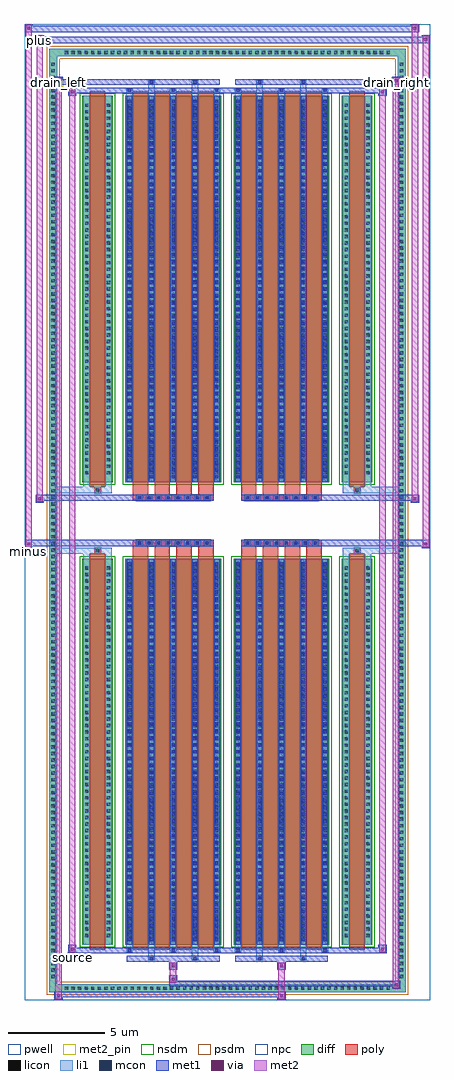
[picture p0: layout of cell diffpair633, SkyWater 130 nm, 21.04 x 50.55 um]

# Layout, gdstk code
import gdstk
lib = gdstk.Library(unit=1e-6, precision=5e-09)
def R(c, l, rs):  # rectangles x0, y0, x1, y1
    for r in rs: c.add(gdstk.rectangle(r[:2], r[2:], *l))
def A(c, l, x, y, w, h, nx, ny, dx, dy):  # array of equal rectangles
    R(c, l, [(x+i*dx, y+j*dy, x+i*dx+w, y+j*dy+h) for i in range(nx) for j in range(ny)])
def P(c, l, *ps):  # polygons
    for p in ps: c.add(gdstk.Polygon(p, *l))
pwell = (64, 44)
diff = (65, 20)
poly = (66, 20)
licon = (66, 44)
li1 = (67, 20)
mcon = (67, 44)
met1 = (68, 20)
via = (68, 44)
met2_pin = (69, 16)
met2 = (69, 20)
nsdm = (93, 44)
psdm = (94, 20)
npc = (95, 20)

diffpair633 = lib.new_cell('diffpair633')
R(diffpair633, pwell, [(-10.5,-24.84,10.5,25.71), (-7.82,-23.03,-0.01,-0.805), (0.01,-23.03,7.82,-0.805), (-7.82,0.805,-0.01,23.03), (0.01,0.805,7.82,23.03)])
A(diffpair633, diff, -8.535, -24.44, 0.41, 0.41, 50, 2, 0.34, 48.47)
A(diffpair633, diff, -9.23, -23.835, 0.41, 0.41, 1, 140, 0, 0.34)
A(diffpair633, diff, 8.82, -23.835, 0.41, 0.41, 1, 140, 0, 0.34)
R(diffpair633, diff, [(-8.535,-24.44,8.535,-24.03), (-9.23,-23.835,-8.82,23.835), (8.82,-23.835,9.23,23.835), (-7.51,-21.985,-5.93,-1.985), (-5.29,-21.985,-0.32,-1.985), (0.32,-21.985,5.29,-1.985), (5.93,-21.985,7.51,-1.985), (-7.51,1.985,-5.93,21.985), (-5.29,1.985,-0.32,21.985), (0.32,1.985,5.29,21.985), (5.93,1.985,7.51,21.985), (-8.535,24.03,8.535,24.44)])
P(diffpair633, diff, [(9.23,24.44),(-9.23,24.44),(-9.23,-24.03),(-8.82,-24.03),(-8.82,24.03),(8.82,24.03),(8.82,-24.03),(-8.82,-24.03),(-9.23,-24.03),(-9.23,-24.44),(9.23,-24.44)])
A(diffpair633, poly, -4.9, -22.235, 0.8, 20.5, 4, 2, 1.13, 23.97)
A(diffpair633, poly, 0.71, -22.235, 0.8, 20.5, 4, 2, 1.13, 23.97)
A(diffpair633, poly, -4.9, -1.735, 0.8, 0.4, 4, 2, 1.13, 3.07)
A(diffpair633, poly, 0.71, -1.735, 0.8, 0.4, 4, 2, 1.13, 3.07)
A(diffpair633, poly, -4.72, -1.335, 0.33, 0.33, 8, 2, 0.5, 2.34)
A(diffpair633, poly, 0.89, -1.335, 0.33, 0.33, 8, 2, 0.5, 2.34)
R(diffpair633, poly, [(-7.12,-22.235,-6.32,-1.735), (6.32,-22.235,7.12,-1.735), (-6.885,-1.735,-6.555,-1.405), (-6.885,-1.735,-6.555,-1.405), (6.555,-1.735,6.885,-1.405), (6.555,-1.735,6.885,-1.405), (-4.9,-1.335,-0.71,-1.005), (0.71,-1.335,4.9,-1.005), (-4.9,1.005,-0.71,1.335), (0.71,1.005,4.9,1.335), (-6.885,1.405,-6.555,1.735), (-6.885,1.405,-6.555,1.735), (6.555,1.405,6.885,1.735), (6.555,1.405,6.885,1.735), (-7.12,1.735,-6.32,22.235), (6.32,1.735,7.12,22.235)])
A(diffpair633, licon, -8.415, -24.32, 0.17, 0.17, 50, 2, 0.34, 48.47)
A(diffpair633, licon, -9.11, -23.715, 0.17, 0.17, 1, 140, 0, 0.34)
A(diffpair633, licon, 8.94, -23.715, 0.17, 0.17, 1, 140, 0, 0.34)
A(diffpair633, licon, -7.37, -21.59, 0.17, 0.17, 1, 57, 0, 0.34)
A(diffpair633, licon, -6.24, -21.59, 0.17, 0.17, 1, 57, 0, 0.34)
A(diffpair633, licon, -5.15, -21.59, 0.17, 0.17, 5, 57, 1.13, 0.34)
A(diffpair633, licon, 0.46, -21.59, 0.17, 0.17, 5, 57, 1.13, 0.34)
A(diffpair633, licon, 6.07, -21.59, 0.17, 0.17, 1, 57, 0, 0.34)
A(diffpair633, licon, 7.2, -21.59, 0.17, 0.17, 1, 57, 0, 0.34)
A(diffpair633, licon, -4.64, -1.255, 0.17, 0.17, 8, 2, 0.5, 2.34)
A(diffpair633, licon, 0.97, -1.255, 0.17, 0.17, 8, 2, 0.5, 2.34)
A(diffpair633, licon, -7.37, 2.38, 0.17, 0.17, 1, 57, 0, 0.34)
A(diffpair633, licon, -6.24, 2.38, 0.17, 0.17, 1, 57, 0, 0.34)
A(diffpair633, licon, -5.15, 2.38, 0.17, 0.17, 5, 57, 1.13, 0.34)
A(diffpair633, licon, 0.46, 2.38, 0.17, 0.17, 5, 57, 1.13, 0.34)
A(diffpair633, licon, 6.07, 2.38, 0.17, 0.17, 1, 57, 0, 0.34)
A(diffpair633, licon, 7.2, 2.38, 0.17, 0.17, 1, 57, 0, 0.34)
R(diffpair633, licon, [(-6.805,-1.655,-6.635,-1.485), (6.635,-1.655,6.805,-1.485), (-6.805,1.485,-6.635,1.655), (6.635,1.485,6.805,1.655)])
A(diffpair633, li1, -8.495, -24.4, 0.33, 0.33, 50, 2, 0.34, 48.47)
A(diffpair633, li1, -9.19, -23.795, 0.33, 0.33, 1, 140, 0, 0.34)
A(diffpair633, li1, 8.86, -23.795, 0.33, 0.33, 1, 140, 0, 0.34)
A(diffpair633, li1, -5.23, -22.36, 0.33, 0.375, 3, 2, 2.26, 44.345)
A(diffpair633, li1, -5.15, -22.36, 0.17, 0.17, 3, 2, 2.26, 44.55)
A(diffpair633, li1, 0.38, -22.36, 0.33, 0.375, 3, 2, 2.26, 44.345)
A(diffpair633, li1, 0.46, -22.36, 0.17, 0.17, 3, 2, 2.26, 44.55)
A(diffpair633, li1, -5.23, -21.985, 0.33, 20, 5, 2, 1.13, 23.97)
A(diffpair633, li1, 0.38, -21.985, 0.33, 20, 5, 2, 1.13, 23.97)
A(diffpair633, li1, -5.15, -21.79, 0.17, 0.17, 5, 55, 1.13, 0.36)
A(diffpair633, li1, -5.15, -21.79, 0.17, 19.61, 5, 2, 1.13, 23.97)
A(diffpair633, li1, 0.46, -21.79, 0.17, 0.17, 5, 55, 1.13, 0.36)
A(diffpair633, li1, 0.46, -21.79, 0.17, 19.61, 5, 2, 1.13, 23.97)
A(diffpair633, li1, -7.45, -21.67, 0.33, 0.33, 1, 57, 0, 0.34)
A(diffpair633, li1, -6.32, -21.67, 0.33, 0.33, 1, 57, 0, 0.34)
A(diffpair633, li1, -5.23, -21.67, 0.33, 0.33, 5, 57, 1.13, 0.34)
A(diffpair633, li1, 0.38, -21.67, 0.33, 0.33, 5, 57, 1.13, 0.34)
A(diffpair633, li1, 5.99, -21.67, 0.33, 0.33, 1, 57, 0, 0.34)
A(diffpair633, li1, 7.12, -21.67, 0.33, 0.33, 1, 57, 0, 0.34)
A(diffpair633, li1, -4.72, -1.335, 0.33, 0.33, 8, 2, 0.5, 2.34)
A(diffpair633, li1, 0.89, -1.335, 0.33, 0.33, 8, 2, 0.5, 2.34)
A(diffpair633, li1, -5.15, 2.18, 0.17, 0.17, 5, 55, 1.13, 0.36)
A(diffpair633, li1, 0.46, 2.18, 0.17, 0.17, 5, 55, 1.13, 0.36)
A(diffpair633, li1, -7.45, 2.3, 0.33, 0.33, 1, 57, 0, 0.34)
A(diffpair633, li1, -6.32, 2.3, 0.33, 0.33, 1, 57, 0, 0.34)
A(diffpair633, li1, -5.23, 2.3, 0.33, 0.33, 5, 57, 1.13, 0.34)
A(diffpair633, li1, 0.38, 2.3, 0.33, 0.33, 5, 57, 1.13, 0.34)
A(diffpair633, li1, 5.99, 2.3, 0.33, 0.33, 1, 57, 0, 0.34)
A(diffpair633, li1, 7.12, 2.3, 0.33, 0.33, 1, 57, 0, 0.34)
R(diffpair633, li1, [(-9.23,-24.44,-8.82,-24.03), (-9.23,-24.44,-8.82,-24.03), (-8.82,-24.44,8.82,-24.03), (8.82,-24.44,9.23,-24.03), (8.82,-24.44,9.23,-24.03), (-9.23,-24.03,-8.82,24.03), (8.82,-24.03,9.23,24.03), (-4.1,-22.79,-3.77,-21.985), (-4.02,-22.79,-3.85,-22.62), (-1.84,-22.79,-1.51,-21.985), (-1.76,-22.79,-1.59,-22.62), (1.51,-22.79,1.84,-21.985), (1.59,-22.79,1.76,-22.62), (3.77,-22.79,4.1,-21.985), (3.85,-22.79,4.02,-22.62), (-7.45,-21.985,-7.12,-1.985), (-6.32,-21.985,-5.99,-1.985), (5.99,-21.985,6.32,-1.985), (7.12,-21.985,7.45,-1.985), (-7.45,-1.985,-7.12,-1.405), (-6.32,-1.985,-5.99,-1.405), (5.99,-1.985,6.32,-1.405), (7.12,-1.985,7.45,-1.405), (-9.23,-1.735,-6.885,-1.405), (-7.45,-1.735,-6.885,-1.405), (-6.885,-1.735,-6.555,-1.405), (-6.555,-1.735,-5.99,-1.405), (5.99,-1.735,6.555,-1.405), (6.555,-1.735,6.885,-1.405), (6.555,-1.735,9.23,-1.405), (6.885,-1.735,7.45,-1.405), (-9.23,1.405,-6.885,1.735), (-7.45,1.405,-6.885,1.735), (-7.45,1.405,-7.12,1.985), (-6.885,1.405,-6.555,1.735), (-6.555,1.405,-5.99,1.735), (-6.32,1.405,-5.99,1.985), (5.99,1.405,6.555,1.735), (5.99,1.405,6.32,1.985), (6.555,1.405,6.885,1.735), (6.555,1.405,9.23,1.735), (6.885,1.405,7.45,1.735), (7.12,1.405,7.45,1.985), (-7.45,1.985,-7.12,21.985), (-6.32,1.985,-5.99,21.985), (5.99,1.985,6.32,21.985), (7.12,1.985,7.45,21.985), (-4.1,21.985,-3.77,22.79), (-1.84,21.985,-1.51,22.79), (1.51,21.985,1.84,22.79), (3.77,21.985,4.1,22.79), (-4.02,22.62,-3.85,22.79), (-1.76,22.62,-1.59,22.79), (1.59,22.62,1.76,22.79), (3.85,22.62,4.02,22.79), (-9.23,24.03,-8.82,24.44), (-9.23,24.03,-8.82,24.44), (-8.82,24.03,8.82,24.44), (8.82,24.03,9.23,24.44), (8.82,24.03,9.23,24.44)])
A(diffpair633, mcon, -5.15, -22.36, 0.17, 0.17, 3, 2, 2.26, 44.55)
A(diffpair633, mcon, 0.46, -22.36, 0.17, 0.17, 3, 2, 2.26, 44.55)
A(diffpair633, mcon, -5.15, -21.79, 0.17, 0.17, 5, 55, 1.13, 0.36)
A(diffpair633, mcon, 0.46, -21.79, 0.17, 0.17, 5, 55, 1.13, 0.36)
A(diffpair633, mcon, -4.64, -1.255, 0.17, 0.17, 8, 2, 0.5, 2.34)
A(diffpair633, mcon, 0.97, -1.255, 0.17, 0.17, 8, 2, 0.5, 2.34)
A(diffpair633, mcon, -5.15, 2.18, 0.17, 0.17, 5, 55, 1.13, 0.36)
A(diffpair633, mcon, 0.46, 2.18, 0.17, 0.17, 5, 55, 1.13, 0.36)
R(diffpair633, mcon, [(-4.02,-22.79,-3.85,-22.62), (-1.76,-22.79,-1.59,-22.62), (1.59,-22.79,1.76,-22.62), (3.85,-22.79,4.02,-22.62), (-4.02,22.62,-3.85,22.79), (-1.76,22.62,-1.59,22.79), (1.59,22.62,1.76,22.79), (3.85,22.62,4.02,22.79)])
A(diffpair633, met1, -5.21, -22.42, 0.29, 0.29, 3, 2, 2.26, 44.55)
A(diffpair633, met1, 0.4, -22.42, 0.29, 0.29, 3, 2, 2.26, 44.55)
A(diffpair633, met1, -5.21, -21.985, 0.29, 20, 5, 2, 1.13, 23.97)
A(diffpair633, met1, 0.4, -21.985, 0.29, 20, 5, 2, 1.13, 23.97)
A(diffpair633, met1, -5.21, -21.85, 0.29, 0.29, 5, 55, 1.13, 0.36)
A(diffpair633, met1, 0.4, -21.85, 0.29, 0.29, 5, 55, 1.13, 0.36)
A(diffpair633, met1, -4.7, -1.315, 0.29, 0.29, 8, 2, 0.5, 2.34)
A(diffpair633, met1, 0.91, -1.315, 0.29, 0.29, 8, 2, 0.5, 2.34)
A(diffpair633, met1, -5.21, 2.12, 0.29, 0.29, 5, 55, 1.13, 0.36)
A(diffpair633, met1, 0.4, 2.12, 0.29, 0.29, 5, 55, 1.13, 0.36)
R(diffpair633, met1, [(-8.96,-24.84,-8.53,-24.41), (2.59,-24.84,3.02,-24.41), (-8.96,-24.7,3.02,-24.41), (8.53,-24.27,8.96,-23.84), (-3.02,-24.13,8.96,-23.84), (-3.02,-23.99,-2.59,-23.56), (-3.02,-23.28,-2.59,-22.85), (2.59,-23.28,3.02,-22.85), (-5.21,-22.85,-0.4,-22.56), (-4.08,-22.85,-3.79,-22.56), (-1.82,-22.85,-1.53,-22.56), (0.4,-22.85,5.21,-22.56), (1.53,-22.85,1.82,-22.56), (3.79,-22.85,4.08,-22.56), (-8.25,-22.42,-7.82,-21.99), (-8.25,-22.42,-5.21,-22.13), (-5.21,-22.42,-0.4,-22.13), (-0.4,-22.42,0.4,-22.13), (0.4,-22.42,5.21,-22.13), (5.21,-22.42,8.25,-22.13), (7.82,-22.42,8.25,-21.99), (-10.5,-1.435,-10.07,-1.005), (10.07,-1.435,10.5,-1.005), (-10.5,-1.335,-0.71,-1.005), (-4.9,-1.335,-0.71,-1.005), (0.71,-1.335,4.9,-1.005), (0.71,-1.335,10.5,-1.005), (-9.93,0.905,-9.5,1.335), (9.5,0.905,9.93,1.335), (-9.93,1.005,-4.9,1.335), (-4.9,1.005,-0.71,1.335), (0.71,1.005,4.9,1.335), (4.9,1.005,9.93,1.335), (-8.25,21.99,-7.82,22.42), (7.82,21.99,8.25,22.42), (-8.25,22.13,-5.21,22.42), (-5.21,22.13,-0.4,22.42), (-0.4,22.13,0.4,22.42), (0.4,22.13,5.21,22.42), (5.21,22.13,8.25,22.42), (-8.96,22.56,-8.53,22.99), (-8.96,22.56,-5.21,22.85), (-5.21,22.56,-0.4,22.85), (-4.08,22.56,-3.79,22.85), (-1.82,22.56,-1.53,22.85), (0.4,22.56,5.21,22.85), (1.53,22.56,1.82,22.85), (3.79,22.56,4.08,22.85), (5.21,22.56,8.96,22.85), (8.53,22.56,8.96,22.99), (-9.93,24.71,-9.5,25.14), (-9.93,24.71,-7.82,25.04), (-7.82,24.71,7.82,25.04), (7.82,24.71,10.5,25.04), (10.07,24.71,10.5,25.14), (-10.5,25.28,-10.07,25.71), (-10.5,25.28,-7.82,25.61), (-7.82,25.28,7.82,25.61), (7.82,25.28,9.93,25.61), (9.5,25.28,9.93,25.71)])
R(diffpair633, via, [(-8.82,-24.7,-8.67,-24.55), (2.73,-24.7,2.88,-24.55), (8.67,-24.13,8.82,-23.98), (-2.88,-23.85,-2.73,-23.7), (-2.88,-23.14,-2.73,-22.99), (2.73,-23.14,2.88,-22.99), (-8.11,-22.28,-7.96,-22.13), (7.96,-22.28,8.11,-22.13), (-10.36,-1.295,-10.21,-1.145), (10.21,-1.295,10.36,-1.145), (-9.79,1.045,-9.64,1.195), (9.64,1.045,9.79,1.195), (-8.11,22.13,-7.96,22.28), (7.96,22.13,8.11,22.28), (-8.82,22.7,-8.67,22.85), (8.67,22.7,8.82,22.85), (-9.79,24.85,-9.64,25), (10.21,24.85,10.36,25), (-10.36,25.42,-10.21,25.57), (9.64,25.42,9.79,25.57)])
R(diffpair633, met2_pin, [(-8.285,-22.87,-7.785,-22.37), (-10.535,-1.885,-10.035,-1.385), (-8.995,22.44,-8.495,22.94), (8.495,22.44,8.995,22.94), (-9.965,24.59,-9.465,25.09)])
R(diffpair633, met2, [(-8.91,-24.79,-8.58,-24.46), (-8.91,-24.79,-8.58,22.94), (2.64,-24.79,2.97,-24.46), (2.64,-24.46,2.97,-23.23), (8.58,-24.22,8.91,-23.89), (8.58,-24.22,8.91,22.94), (-2.97,-23.94,-2.64,-23.61), (-2.97,-23.61,-2.64,-23.23), (-2.97,-23.23,-2.64,-22.9), (2.64,-23.23,2.97,-22.9), (-8.2,-22.37,-7.87,-22.04), (-8.2,-22.37,-7.87,22.37), (7.87,-22.37,8.2,-22.04), (7.87,-22.37,8.2,22.37), (-10.45,-1.385,-10.12,-1.055), (-10.45,-1.385,-10.12,25.66), (10.12,-1.385,10.45,-1.055), (10.12,-1.385,10.45,25.09), (-9.88,0.955,-9.55,1.285), (-9.88,0.955,-9.55,25.09), (9.55,0.955,9.88,1.285), (9.55,0.955,9.88,25.66), (-8.2,22.04,-7.87,22.37), (7.87,22.04,8.2,22.37), (-8.91,22.61,-8.58,22.94), (8.58,22.61,8.91,22.94), (-9.88,24.76,-9.55,25.09), (10.12,24.76,10.45,25.09), (-10.45,25.33,-10.12,25.66), (9.55,25.33,9.88,25.66)])
P(diffpair633, met2, [(10.45,-1.385),(10.45,-1.385),(10.45,-1.055),(10.45,-1.055)],
  [(10.45,24.76),(10.45,24.76),(10.45,25.09),(10.45,25.09)],
  [(-10.12,-1.385),(-10.12,-1.385),(-10.12,-1.055),(-10.12,-1.055)],
  [(-10.12,25.33),(-10.12,25.33),(-10.12,25.66),(-10.12,25.66)],
  [(9.88,0.955),(9.88,0.955),(9.88,1.285),(9.88,1.285)],
  [(9.88,25.33),(9.88,25.33),(9.88,25.66),(9.88,25.66)],
  [(-9.55,0.955),(-9.55,0.955),(-9.55,1.285),(-9.55,1.285)],
  [(-9.55,24.76),(-9.55,24.76),(-9.55,25.09),(-9.55,25.09)],
  [(-8.58,-24.79),(-8.58,-24.79),(-8.58,-24.46),(-8.58,-24.46)],
  [(-8.58,22.61),(-8.58,22.61),(-8.58,22.94),(-8.58,22.94)],
  [(8.91,-24.22),(8.91,-24.22),(8.91,-23.89),(8.91,-23.89)],
  [(8.91,22.61),(8.91,22.61),(8.91,22.94),(8.91,22.94)],
  [(-7.87,-22.37),(-7.87,-22.37),(-7.87,-22.04),(-7.87,-22.04)],
  [(-7.87,22.04),(-7.87,22.04),(-7.87,22.37),(-7.87,22.37)],
  [(8.2,-22.37),(8.2,-22.37),(8.2,-22.04),(8.2,-22.04)],
  [(8.2,22.04),(8.2,22.04),(8.2,22.37),(8.2,22.37)])
R(diffpair633, nsdm, [(-7.64,-22.115,-5.8,-1.855), (-5.42,-22.115,-0.19,-1.855), (0.19,-22.115,5.42,-1.855), (5.8,-22.115,7.64,-1.855), (-7.64,1.855,-5.8,22.115), (-5.42,1.855,-0.19,22.115), (0.19,1.855,5.42,22.115), (5.8,1.855,7.64,22.115)])
P(diffpair633, psdm, [(9.36,24.57),(-9.36,24.57),(-9.36,-23.9),(-8.69,-23.9),(-8.69,23.9),(8.69,23.9),(8.69,-23.9),(-8.69,-23.9),(-9.36,-23.9),(-9.36,-24.57),(9.36,-24.57)])
A(diffpair633, npc, -4.74, -1.355, 0.37, 0.37, 8, 2, 0.5, 2.34)
A(diffpair633, npc, 0.87, -1.355, 0.37, 0.37, 8, 2, 0.5, 2.34)
R(diffpair633, npc, [(-6.905,-1.755,-6.535,-1.385), (6.535,-1.755,6.905,-1.385), (-4.74,-1.355,-3.87,-0.985), (-4.74,-1.355,-3.87,-0.985), (-4.24,-1.355,-3.37,-0.985), (-4.24,-1.355,-3.37,-0.985), (-3.74,-1.355,-2.87,-0.985), (-3.74,-1.355,-2.87,-0.985), (-3.24,-1.355,-2.37,-0.985), (-3.24,-1.355,-2.37,-0.985), (-2.74,-1.355,-1.87,-0.985), (-2.74,-1.355,-1.87,-0.985), (-2.24,-1.355,-1.37,-0.985), (-2.24,-1.355,-1.37,-0.985), (-1.74,-1.355,-0.87,-0.985), (-1.74,-1.355,-0.87,-0.985), (0.87,-1.355,1.74,-0.985), (0.87,-1.355,1.74,-0.985), (1.37,-1.355,2.24,-0.985), (1.37,-1.355,2.24,-0.985), (1.87,-1.355,2.74,-0.985), (1.87,-1.355,2.74,-0.985), (2.37,-1.355,3.24,-0.985), (2.37,-1.355,3.24,-0.985), (2.87,-1.355,3.74,-0.985), (2.87,-1.355,3.74,-0.985), (3.37,-1.355,4.24,-0.985), (3.37,-1.355,4.24,-0.985), (3.87,-1.355,4.74,-0.985), (3.87,-1.355,4.74,-0.985), (-4.74,0.985,-3.87,1.355), (-4.74,0.985,-3.87,1.355), (-4.24,0.985,-3.37,1.355), (-4.24,0.985,-3.37,1.355), (-3.74,0.985,-2.87,1.355), (-3.74,0.985,-2.87,1.355), (-3.24,0.985,-2.37,1.355), (-3.24,0.985,-2.37,1.355), (-2.74,0.985,-1.87,1.355), (-2.74,0.985,-1.87,1.355), (-2.24,0.985,-1.37,1.355), (-2.24,0.985,-1.37,1.355), (-1.74,0.985,-0.87,1.355), (-1.74,0.985,-0.87,1.355), (0.87,0.985,1.74,1.355), (0.87,0.985,1.74,1.355), (1.37,0.985,2.24,1.355), (1.37,0.985,2.24,1.355), (1.87,0.985,2.74,1.355), (1.87,0.985,2.74,1.355), (2.37,0.985,3.24,1.355), (2.37,0.985,3.24,1.355), (2.87,0.985,3.74,1.355), (2.87,0.985,3.74,1.355), (3.37,0.985,4.24,1.355), (3.37,0.985,4.24,1.355), (3.87,0.985,4.74,1.355), (3.87,0.985,4.74,1.355), (-6.905,1.385,-6.535,1.755), (6.535,1.385,6.905,1.755)])
diffpair633.add(gdstk.Label('minus', (-10.285,-1.635), layer=69, texttype=5))
diffpair633.add(gdstk.Label('drain_right', (8.745,22.69), layer=69, texttype=5))
diffpair633.add(gdstk.Label('drain_left', (-8.745,22.69), layer=69, texttype=5))
diffpair633.add(gdstk.Label('source', (-8.035,-22.62), layer=69, texttype=5))
diffpair633.add(gdstk.Label('plus', (-9.715,24.84), layer=69, texttype=5))

lib.write_gds('diffpair633.gds')
